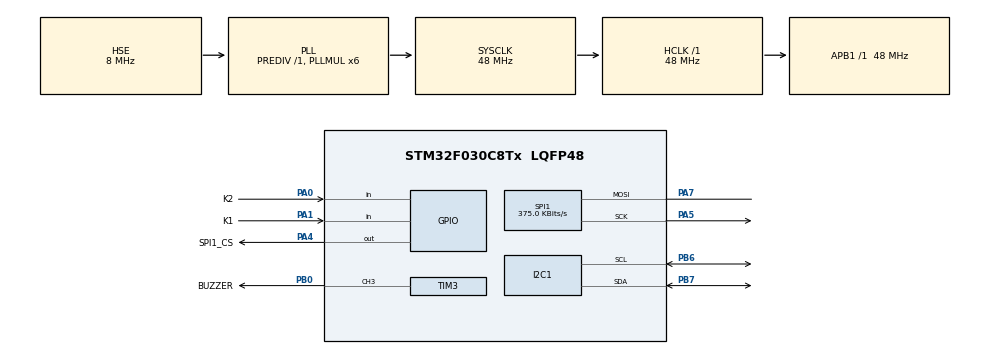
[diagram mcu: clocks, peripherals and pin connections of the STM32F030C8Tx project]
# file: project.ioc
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I2C1.Timing=0x00201D2B
Mcu.Family=STM32F0
Mcu.Name=STM32F030C8Tx
Mcu.Package=LQFP48
PA0.GPIO_Label=K2
PA0.GPIO_PuPd=GPIO_PULLUP
PA0.Signal=GPIO_Input
PA1.GPIO_Label=K1
PA1.GPIO_PuPd=GPIO_PULLUP
PA1.Signal=GPIO_Input
PA13.Mode=Serial_Wire
PA13.Signal=SYS_SWDIO
PA14.Mode=Serial_Wire
PA14.Signal=SYS_SWCLK
PA4.GPIO_Label=SPI1_CS
PA4.GPIO_ModeDefaultOutputPP=GPIO_MODE_OUTPUT_PP
PA4.PinState=GPIO_PIN_SET
PA4.Signal=GPIO_Output
PA5.Mode=Simplex_Bidirectional_Master
PA5.Signal=SPI1_SCK
PA7.Mode=Simplex_Bidirectional_Master
PA7.Signal=SPI1_MOSI
PB0.GPIO_Label=BUZZER
PB0.Signal=S_TIM3_CH3
PB6.Mode=I2C
PB6.Signal=I2C1_SCL
PB7.Mode=I2C
PB7.Signal=I2C1_SDA
PF0-OSC_IN.Mode=HSE-External-Oscillator
PF0-OSC_IN.Signal=RCC_OSC_IN
PF1-OSC_OUT.Mode=HSE-External-Oscillator
PF1-OSC_OUT.Signal=RCC_OSC_OUT
ProjectManager.HeapSize=0x200
ProjectManager.StackSize=0x400
ProjectManager.TargetToolchain=CMake
RCC.AHBFreq_Value=48000000
RCC.APB1Freq_Value=48000000
RCC.APB1TimFreq_Value=48000000
RCC.HCLKFreq_Value=48000000
RCC.PLLMUL=RCC_PLL_MUL6
RCC.PLLSourceVirtual=RCC_PLLSOURCE_HSE
RCC.SYSCLKFreq_VALUE=48000000
RCC.SYSCLKSource=RCC_SYSCLKSOURCE_PLLCLK
SH.S_TIM3_CH3.0=TIM3_CH3,PWM Generation3 CH3
SPI1.BaudRatePrescaler=SPI_BAUDRATEPRESCALER_128
SPI1.CalculateBaudRate=375.0 KBits/s
SPI1.DataSize=SPI_DATASIZE_8BIT
SPI1.Direction=SPI_DIRECTION_1LINE
SPI1.Mode=SPI_MODE_MASTER
SPI1.VirtualType=VM_MASTER
TIM3.Channel-PWM\ Generation3\ CH3=TIM_CHANNEL_3
TIM3.Period=999
TIM3.Prescaler=47
TIM3.Pulse-PWM\ Generation3\ CH3=500
board=custom

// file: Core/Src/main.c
/* USER CODE BEGIN Header */
/**
 ******************************************************************************
 * @file           : main.c
 * @brief          : 西南交通大学电子科协招新礼物——电子沙漏固件
 * @author         : chatillon
 * @hardware       : chatillon
 * @pcb_layout     : 糖猫
 * @date           : 2026
 ******************************************************************************
 * @project        : SWJTU Electronic Hourglass
 *
 * @brief
 * 本项目为西南交通大学电子科协 2026 年招新礼物电子沙漏的主控固件。
 *
 * 电子沙漏以 STM32F030C8T6 为主控制器，通过 MPU6050 获取设备的
 * 三轴加速度信息，并对重力向量进行归一化处理。程序根据重力向量在
 * 显示平面上的 X、Y 分量计算沙粒运动方向，使 LED 点阵中的沙粒能够
 * 随设备姿态变化产生类似真实沙漏的流动效果。
 *
 * 主要功能：
 *   1. MPU6050 三轴加速度采集；
 *   2. 重力方向计算与归一化；
 *   3. LED 点阵电子沙粒模拟；
 *   4. 沙漏倒计时功能；
 *   5. 按键菜单与时间设置；
 *   6. 倒计时结束后的蜂鸣器提示。
 *
 * 本项目作为电子科协招新礼物，同时用于嵌入式系统、传感器应用、
 * LED 点阵显示以及简单粒子模拟的学习与交流。
 *
 * 源码允许用于学习、修改与分享。
 * 具体授权条款请参阅项目仓库中的 LICENSE 文件。
 ******************************************************************************
 */
/* USER CODE END Header */
#include "main.h"
#include "i2c.h"
#include "spi.h"
#include "tim.h"
#include "gpio.h"

/* USER CODE BEGIN Includes */
#if FIRMWARE_DIAGNOSTICS
#include "bringup.h"
#else
#include "app.h"
#endif
#include "buttons.h"
#include "mpu6050.h"
#include "motion.h"
#include "buzzer.h"
/* USER CODE END Includes */

void SystemClock_Config(void);

int main(void)
{

  /* MCU Configuration--------------------------------------------------------*/

  /* Reset of all peripherals, Initializes the Flash interface and the Systick. */
  HAL_Init();

  /* Configure the system clock */
  SystemClock_Config();

  /* Initialize all configured peripherals */
  MX_GPIO_Init();
  MX_I2C1_Init();
  MX_SPI1_Init();
  MX_TIM3_Init();
  /* USER CODE BEGIN 2 */
  uint32_t now = HAL_GetTick();
  Buttons_Init(now);
  Mpu6050_Init(now);
  Motion_Init();
  Buzzer_Init();
#if FIRMWARE_DIAGNOSTICS
  Bringup_Init(now);
#else
  App_Init(now);
#endif
  /* USER CODE END 2 */

  /* Infinite loop */
  while (1)
  {

    /* USER CODE BEGIN 3 */
    now = HAL_GetTick();
    Buttons_Update(now);
    Mpu6050_Update(now);
    Motion_Update(now);
#if FIRMWARE_DIAGNOSTICS
    Bringup_Update(now);
#else
    App_Update(now);
#endif
    Buzzer_Update(now);
  }
  /* USER CODE END 3 */
}

void SystemClock_Config(void)
{
  RCC_OscInitTypeDef RCC_OscInitStruct = {0};
  RCC_ClkInitTypeDef RCC_ClkInitStruct = {0};
  RCC_PeriphCLKInitTypeDef PeriphClkInit = {0};

  /** Initializes the RCC Oscillators according to the specified parameters
  * in the RCC_OscInitTypeDef structure.
  */
  RCC_OscInitStruct.OscillatorType = RCC_OSCILLATORTYPE_HSI|RCC_OSCILLATORTYPE_HSE;
  RCC_OscInitStruct.HSEState = RCC_HSE_ON;
  RCC_OscInitStruct.HSIState = RCC_HSI_ON;
  RCC_OscInitStruct.HSICalibrationValue = RCC_HSICALIBRATION_DEFAULT;
  RCC_OscInitStruct.PLL.PLLState = RCC_PLL_ON;
  RCC_OscInitStruct.PLL.PLLSource = RCC_PLLSOURCE_HSE;
  RCC_OscInitStruct.PLL.PLLMUL = RCC_PLL_MUL6;
  RCC_OscInitStruct.PLL.PREDIV = RCC_PREDIV_DIV1;
  if (HAL_RCC_OscConfig(&RCC_OscInitStruct) != HAL_OK)
  {
    Error_Handler();
  }

  /** Initializes the CPU, AHB and APB buses clocks
  */
  RCC_ClkInitStruct.ClockType = RCC_CLOCKTYPE_HCLK|RCC_CLOCKTYPE_SYSCLK
                              |RCC_CLOCKTYPE_PCLK1;
  RCC_ClkInitStruct.SYSCLKSource = RCC_SYSCLKSOURCE_PLLCLK;
  RCC_ClkInitStruct.AHBCLKDivider = RCC_SYSCLK_DIV1;
  RCC_ClkInitStruct.APB1CLKDivider = RCC_HCLK_DIV1;

  if (HAL_RCC_ClockConfig(&RCC_ClkInitStruct, FLASH_LATENCY_1) != HAL_OK)
  {
    Error_Handler();
  }
  PeriphClkInit.PeriphClockSelection = RCC_PERIPHCLK_I2C1;
  PeriphClkInit.I2c1ClockSelection = RCC_I2C1CLKSOURCE_HSI;
  if (HAL_RCCEx_PeriphCLKConfig(&PeriphClkInit) != HAL_OK)
  {
    Error_Handler();
  }
}

void Error_Handler(void)
{
  __disable_irq();
  while (1)
  {
  }
}
